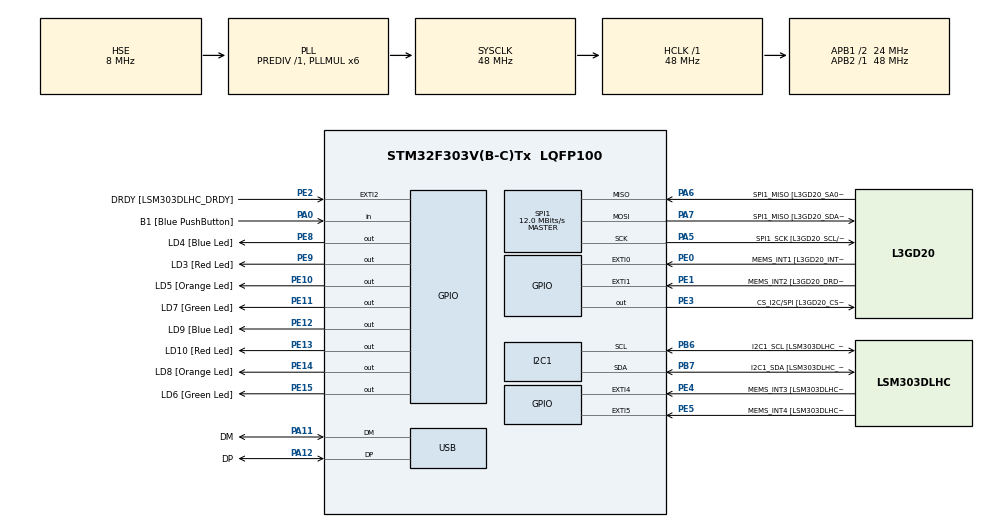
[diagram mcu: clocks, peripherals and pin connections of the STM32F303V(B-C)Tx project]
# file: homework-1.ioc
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I2C1.Timing=0x00201D2B
I2C1.Timing-I2C=0x2000090E
Mcu.Family=STM32F3
Mcu.Name=STM32F303V(B-C)Tx
Mcu.Package=LQFP100
NVIC.PriorityGroup=NVIC_PRIORITYGROUP_0
PA0.GPIO_Label=B1 [Blue PushButton]
PA0.Signal=GPIO_Input
PA11.GPIO_Label=DM
PA11.Mode=Device
PA11.Signal=USB_DM
PA12.GPIO_Label=DP
PA12.Mode=Device
PA12.Signal=USB_DP
PA13.GPIO_Label=SWDIO
PA13.Mode=Serial_Wire
PA13.Signal=SYS_JTMS-SWDIO
PA14.GPIO_Label=SWCLK
PA14.Mode=Serial_Wire
PA14.Signal=SYS_JTCK-SWCLK
PA5.GPIO_Label=SPI1_SCK [L3GD20_SCL/SPC]
PA5.Mode=Full_Duplex_Master
PA5.Signal=SPI1_SCK
PA6.GPIO_Label=SPI1_MISO [L3GD20_SA0/SDO]
PA6.Mode=Full_Duplex_Master
PA6.Signal=SPI1_MISO
PA7.GPIO_Label=SPI1_MISO [L3GD20_SDA/SDI/SDO]
PA7.Mode=Full_Duplex_Master
PA7.Signal=SPI1_MOSI
PB3.GPIO_Label=SWO
PB3.Signal=SYS_JTDO-TRACESWO
PB6.GPIO_Label=I2C1_SCL [LSM303DLHC_SCL]
PB6.GPIO_Pu=GPIO_PULLUP
PB6.Mode=I2C
PB6.Signal=I2C1_SCL
PB7.GPIO_Label=I2C1_SDA [LSM303DLHC_SDA]
PB7.GPIO_Pu=GPIO_PULLUP
PB7.Mode=I2C
PB7.Signal=I2C1_SDA
PC14-OSC32_IN.GPIO_Label=OSC32_IN
PC14-OSC32_IN.Signal=RCC_OSC32_IN
PC15-OSC32_OUT.GPIO_Label=OSC32_OUT
PC15-OSC32_OUT.Signal=RCC_OSC32_OUT
PE0.GPIO_Label=MEMS_INT1 [L3GD20_INT1]
PE0.GPIO_ModeDefaultEXTI=GPIO_MODE_EVT_RISING
PE0.Signal=GPXTI0
PE1.GPIO_Label=MEMS_INT2 [L3GD20_DRDY/INT2]
PE1.GPIO_ModeDefaultEXTI=GPIO_MODE_EVT_RISING
PE1.Signal=GPXTI1
PE10.GPIO_Label=LD5 [Orange Led]
PE10.Signal=GPIO_Output
PE11.GPIO_Label=LD7 [Green Led]
PE11.Signal=GPIO_Output
PE12.GPIO_Label=LD9 [Blue Led]
PE12.Signal=GPIO_Output
PE13.GPIO_Label=LD10 [Red Led]
PE13.Signal=GPIO_Output
PE14.GPIO_Label=LD8 [Orange Led]
PE14.Signal=GPIO_Output
PE15.GPIO_Label=LD6 [Green Led]
PE15.Signal=GPIO_Output
PE2.GPIO_Label=DRDY [LSM303DLHC_DRDY]
PE2.GPIO_ModeDefaultEXTI=GPIO_MODE_EVT_RISING
PE2.Signal=GPXTI2
PE3.GPIO_Label=CS_I2C/SPI [L3GD20_CS_I2C/SPI]
PE3.Signal=GPIO_Output
PE4.GPIO_Label=MEMS_INT3 [LSM303DLHC_INT1]
PE4.GPIO_ModeDefaultEXTI=GPIO_MODE_EVT_RISING
PE4.Signal=GPXTI4
PE5.GPIO_Label=MEMS_INT4 [LSM303DLHC_INT2]
PE5.GPIO_ModeDefaultEXTI=GPIO_MODE_EVT_RISING
PE5.Signal=GPXTI5
PE8.GPIO_Label=LD4 [Blue Led]
PE8.Signal=GPIO_Output
PE9.GPIO_Label=LD3 [Red Led]
PE9.Signal=GPIO_Output
PF0-OSC_IN.GPIO_Label=OSC_IN
PF0-OSC_IN.Mode=HSE-External-Clock-Source
PF0-OSC_IN.Signal=RCC_OSC_IN
PF1-OSC_OUT.GPIO_Label=OSC_OUT
PF1-OSC_OUT.Signal=RCC_OSC_OUT
ProjectManager.HeapSize=0x200
ProjectManager.StackSize=0x400
ProjectManager.TargetToolchain=CMake
RCC.AHBFreq_Value=48000000
RCC.APB1CLKDivider=RCC_HCLK_DIV2
RCC.APB1Freq_Value=24000000
RCC.APB1TimFreq_Value=48000000
RCC.APB2Freq_Value=48000000
RCC.APB2TimFreq_Value=48000000
RCC.CortexFreq_Value=48000000
RCC.HCLKFreq_Value=48000000
RCC.HSE_VALUE=8000000
RCC.HSI_VALUE=8000000
RCC.LSE_VALUE=32768
RCC.PLLMUL=RCC_PLL_MUL6
RCC.SYSCLKFreq_VALUE=48000000
RCC.SYSCLKSourceVirtual=RCC_SYSCLKSOURCE_PLLCLK
RCC.USBFreq_Value=48000000
SPI1.BaudRatePrescaler=SPI_BAUDRATEPRESCALER_4
SPI1.BaudRatePrescaler-Full_Duplex_Master=SPI_BAUDRATEPRESCALER_2
SPI1.CalculateBaudRate=12.0 MBits/s
SPI1.CalculateBaudRate-Full_Duplex_Master=24.0 MBits/s
SPI1.Direction=SPI_DIRECTION_2LINES
SPI1.Mode=SPI_MODE_MASTER
SPI1.Mode-Full_Duplex_Master=SPI_MODE_MASTER
SPI1.VirtualType=VM_MASTER
VP_RTC_VS_RTC_Activate.Mode=RTC_Enabled
board=STM32F3DISCOVERY

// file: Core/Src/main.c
/* USER CODE BEGIN Header */
/**
  ******************************************************************************
  * @file           : main.c
  * @brief          : Main program body - Homework 1 Part 1B (Interrupt-Driven)
  ******************************************************************************
  */
/* USER CODE END Header */

#include "main.h"

/* USER CODE BEGIN PD */
//PART 1B/A
// #define LED_PIN  8U   // PE8 (LD4 Blue LED on STM32F3 Discovery)
// #define BTN_PIN  0U   // PA0 (USER Push Button)
//END
//PART 2
#define LED_PIN  8U   // PE8 (LD4 Blue LED) - Part 1A/1B
#define BTN_PIN  0U   // PA0 (USER Push Button)

// Part 2
#define LED_R_PIN 9U    // PE9  LD3 red
#define LED_G_PIN 11U   // PE11 LD7 green
#define LED_B_PIN 12U   // PE12 LD9 blue
#define W_DELAY_MS    150U   // white on/off
#define RGB_DELAY_MS  400U   // per color
/* USER CODE END PD */

I2C_HandleTypeDef hi2c1;
RTC_HandleTypeDef hrtc;
SPI_HandleTypeDef hspi1;
PCD_HandleTypeDef hpcd_USB_FS;

/* USER CODE BEGIN PV */
//PART 2
volatile uint8_t g_flash_LED = 0;   // 1 = SW1 held (flash white), 0 = RGB cycle
/* USER CODE END PV */

void SystemClock_Config(void);
static void MX_I2C1_Init(void);
static void MX_RTC_Init(void);
static void MX_SPI1_Init(void);
static void MX_USB_PCD_Init(void);

/* USER CODE BEGIN 0 */
//PART 2
static void Control_RGB_LEDs(int r, int g, int b)
{
    GPIOE->BSRR = r ? (1U << LED_R_PIN) : (1U << (LED_R_PIN + 16U));
    GPIOE->BSRR = g ? (1U << LED_G_PIN) : (1U << (LED_G_PIN + 16U));
    GPIOE->BSRR = b ? (1U << LED_B_PIN) : (1U << (LED_B_PIN + 16U));
}

// Timer: replaces Delay(), TIM2 in one-pulse (one-shot) mode
static void TIM_Init(void)
{
    RCC->APB1ENR |= RCC_APB1ENR_TIM2EN;
    TIM2->PSC = 48000U - 1U;   // 48 MHz / 48000 = 1 kHz -> 1 ms/count
    TIM2->CR1 = TIM_CR1_OPM;   // one-pulse: stops itself at expiry
    TIM2->EGR = TIM_EGR_UG;    // load PSC now
    TIM2->SR  = 0;             // clear flag UG just set
}
static void Start_TIM(uint32_t ms)
{
    TIM2->CR1 &= ~TIM_CR1_CEN;
    TIM2->ARR = ms - 1U;
    TIM2->CNT = 0;
    TIM2->SR  = 0;
    TIM2->CR1 |= TIM_CR1_CEN;
}
static uint32_t TIM_Expired(void) { return (TIM2->SR & TIM_SR_UIF) ? 1U : 0U; }
static void Stop_TIM(void)        { TIM2->CR1 &= ~TIM_CR1_CEN; TIM2->SR = 0; }

// Task 1: white flash FSM (runs only while SW1 is held)
static void Task_Flash_FSM_Timer(void)
{
    enum State { ST_WHITE, ST_WHITE_WAIT, ST_BLACK, ST_BLACK_WAIT };
    static enum State next_state = ST_WHITE;

    if (g_flash_LED == 1) {
        switch (next_state) {
        case ST_WHITE:
            Control_RGB_LEDs(1, 1, 1);
            Start_TIM(W_DELAY_MS);
            next_state = ST_WHITE_WAIT;
            break;
        case ST_WHITE_WAIT:
            if (TIM_Expired()) { Stop_TIM(); next_state = ST_BLACK; }
            break;
        case ST_BLACK:
            Control_RGB_LEDs(0, 0, 0);
            Start_TIM(W_DELAY_MS);
            next_state = ST_BLACK_WAIT;
            break;
        case ST_BLACK_WAIT:
            if (TIM_Expired()) { Stop_TIM(); next_state = ST_WHITE; }
            break;
        default:
            next_state = ST_WHITE;
            break;
        }
    } else {
        next_state = ST_WHITE;   // reset cleanly for next time SW1 is held
    }
}

// Task 2: RGB cycle FSM (runs only while SW1 is NOT held)
static void Task_RGB_FSM_Timer(void)
{
    enum State { ST_RED, ST_RED_WAIT, ST_GREEN, ST_GREEN_WAIT,
                 ST_BLUE, ST_BLUE_WAIT };
    static enum State next_state = ST_RED;

    if (g_flash_LED == 0) {
        switch (next_state) {
        case ST_RED:
            Control_RGB_LEDs(1, 0, 0);
            Start_TIM(RGB_DELAY_MS);
            next_state = ST_RED_WAIT;
            break;
        case ST_RED_WAIT:
            if (TIM_Expired()) { Stop_TIM(); next_state = ST_GREEN; }
            break;
        case ST_GREEN:
            Control_RGB_LEDs(0, 1, 0);
            Start_TIM(RGB_DELAY_MS);
            next_state = ST_GREEN_WAIT;
            break;
        case ST_GREEN_WAIT:
            if (TIM_Expired()) { Stop_TIM(); next_state = ST_BLUE; }
            break;
        case ST_BLUE:
            Control_RGB_LEDs(0, 0, 1);
            Start_TIM(RGB_DELAY_MS);
            next_state = ST_BLUE_WAIT;
            break;
        case ST_BLUE_WAIT:
            if (TIM_Expired()) { Stop_TIM(); next_state = ST_RED; }
            break;
        default:
            next_state = ST_RED;
            break;
        }
    } else {
        next_state = ST_RED;
    }
}
/* USER CODE END 0 */

int main(void)
{
  /* Reset of all peripherals, Initializes the Flash interface and the Systick. */
  HAL_Init();

  /* Configure the system clock */
  SystemClock_Config();

  /* Initialize CubeMX generated peripherals (RTC, SPI, I2C, USB) */
  MX_I2C1_Init();
  MX_RTC_Init();
  MX_SPI1_Init();
  MX_USB_PCD_Init();

  /* USER CODE BEGIN 2 */
  /* =========================================================================
   * PART 1A: CMSIS Direct Register Configuration (Polling) - [COMMENTED OUT]
   * =========================================================================
  // 1. Enable AHB peripheral clock for GPIOA (Button) and GPIOE (LEDs)
  RCC->AHBENR |= RCC_AHBENR_GPIOAEN | RCC_AHBENR_GPIOEEN;

  // 2. Configure PE8 as General Purpose Output (Bits 17:16 = 01)
  GPIOE->MODER &= ~(3U << (LED_PIN * 2)); // Clear mode bits
  GPIOE->MODER |=  (1U << (LED_PIN * 2)); // Set as Output (01)
  GPIOE->OTYPER &= ~(1U << LED_PIN);       // Push-pull output
  GPIOE->OSPEEDR &= ~(3U << (LED_PIN * 2));// Low speed

  // 3. Configure PA0 as Digital Input (Bits 1:0 = 00)
  GPIOA->MODER &= ~(3U << (BTN_PIN * 2));  // Set mode to Input (00)

  // 4. Set Pull-down resistor on PA0
  GPIOA->PUPDR &= ~(3U << (BTN_PIN * 2));  // Clear pull configuration
  GPIOA->PUPDR |=  (2U << (BTN_PIN * 2));  // Set pull-down (10)
  ========================================================================= */

  // =========================================================================
  // PART 1B: CMSIS Direct Register Configuration (Interrupt-Driven)
  // =========================================================================

  // 1. Enable AHB clocks for GPIOA, GPIOE and APB2 clock for SYSCFG
  // RCC->AHBENR  |= RCC_AHBENR_GPIOAEN | RCC_AHBENR_GPIOEEN;
  // RCC->APB2ENR |= RCC_APB2ENR_SYSCFGEN;

  // // 2. Configure PE8 as General Purpose Output
  // GPIOE->MODER &= ~(3U << (LED_PIN * 2)); // Clear mode bits
  // GPIOE->MODER |=  (1U << (LED_PIN * 2)); // Set mode to Output (01)
  // GPIOE->OTYPER &= ~(1U << LED_PIN);       // Push-pull output
  // GPIOE->OSPEEDR &= ~(3U << (LED_PIN * 2));// Low speed

  // // 3. Configure PA0 as Digital Input with Pull-Down
  // GPIOA->MODER &= ~(3U << (BTN_PIN * 2));  // Input mode (00)
  // GPIOA->PUPDR &= ~(3U << (BTN_PIN * 2));  // Clear pull configuration
  // GPIOA->PUPDR |=  (2U << (BTN_PIN * 2));  // Set pull-down (10)

  // // 4. Connect EXTI Line 0 to Port A (PA0) via SYSCFG_EXTICR1
  // SYSCFG->EXTICR[0] &= ~(0xFU << 0);       // EXTI0 mapped to PA0

  // // 5. Configure EXTI Line 0 for Rising Edge Triggering (Button press)
  // EXTI->IMR  |= EXTI_IMR_MR0;              // Unmask EXTI Line 0
  // EXTI->RTSR |= EXTI_RTSR_TR0;             // Enable rising edge trigger
  // EXTI->FTSR &= ~EXTI_FTSR_TR0;            // Disable falling edge trigger

  // // 6. Enable EXTI Line 0 Interrupt in NVIC
  // NVIC_SetPriority(EXTI0_IRQn, 2);
  // NVIC_EnableIRQ(EXTI0_IRQn);
  // =========================================================================
  // PART 2: Timer + FSM (both edges of SW1)
  // =========================================================================

  // 1. Clocks: GPIOA (button), GPIOE (LEDs, already includes PE8), SYSCFG, TIM2
  RCC->AHBENR  |= RCC_AHBENR_GPIOAEN | RCC_AHBENR_GPIOEEN;
  RCC->APB2ENR |= RCC_APB2ENR_SYSCFGEN;

  // 2. Configure PE9, PE11, PE12 as outputs (red, green, blue)
  {
      uint32_t pins[3] = { LED_R_PIN, LED_G_PIN, LED_B_PIN };
      for (int i = 0; i < 3; i++) {
          GPIOE->MODER &= ~(3U << (pins[i] * 2));
          GPIOE->MODER |=  (1U << (pins[i] * 2));
      }
  }

  // 3. PA0 input, pull-down (same as Part 1B)
  GPIOA->MODER &= ~(3U << (BTN_PIN * 2));
  GPIOA->PUPDR &= ~(3U << (BTN_PIN * 2));
  GPIOA->PUPDR |=  (2U << (BTN_PIN * 2));

  // 4. EXTI0 <- PA0, BOTH edges this time (press AND release matter)
  SYSCFG->EXTICR[0] &= ~(0xFU << 0);
  EXTI->IMR  |= EXTI_IMR_MR0;
  EXTI->RTSR |= EXTI_RTSR_TR0;   // press
  EXTI->FTSR |= EXTI_FTSR_TR0;   // release
  NVIC_SetPriority(EXTI0_IRQn, 2);
  NVIC_EnableIRQ(EXTI0_IRQn);

  // 5. Timer init, and set initial flag from the button's current state
  TIM_Init();
  g_flash_LED = (uint8_t)((GPIOA->IDR >> BTN_PIN) & 1U);

  /* USER CODE END 2 */

  /* Infinite loop */
  /* USER CODE BEGIN WHILE */
  while (1)
  {
    /* =========================================================================
     * PART 1A: Continuous Polling Loop - [COMMENTED OUT]
     * =========================================================================
    if ((GPIOA->IDR >> BTN_PIN) & 1U)
    {
      // Button Pressed (HIGH): Turn ON PE8 LED using Bit Set Register
      GPIOE->BSRR = (1U << LED_PIN);
    }
    else
    {
      // Button Released (LOW): Turn OFF PE8 LED using Bit Reset Register
      GPIOE->BSRR = (1U << (LED_PIN + 16U));
    }
    ========================================================================= */

    // =========================================================================
    // PART 1B: Main application loop remains idle/non-blocking
    // =========================================================================
    __NOP();

    /* USER CODE END WHILE */

    /* USER CODE BEGIN 3 */
    Task_Flash_FSM_Timer();
    Task_RGB_FSM_Timer();
  }
  /* USER CODE END 3 */
}

void SystemClock_Config(void)
{
  RCC_OscInitTypeDef RCC_OscInitStruct = {0};
  RCC_ClkInitTypeDef RCC_ClkInitStruct = {0};
  RCC_PeriphCLKInitTypeDef PeriphClkInit = {0};

  RCC_OscInitStruct.OscillatorType = RCC_OSCILLATORTYPE_HSI|RCC_OSCILLATORTYPE_LSI
                              |RCC_OSCILLATORTYPE_HSE;
  RCC_OscInitStruct.HSEState = RCC_HSE_BYPASS;
  RCC_OscInitStruct.HSEPredivValue = RCC_HSE_PREDIV_DIV1;
  RCC_OscInitStruct.HSIState = RCC_HSI_ON;
  RCC_OscInitStruct.HSICalibrationValue = RCC_HSICALIBRATION_DEFAULT;
  RCC_OscInitStruct.LSIState = RCC_LSI_ON;
  RCC_OscInitStruct.PLL.PLLState = RCC_PLL_ON;
  RCC_OscInitStruct.PLL.PLLSource = RCC_PLLSOURCE_HSE;
  RCC_OscInitStruct.PLL.PLLMUL = RCC_PLL_MUL6;
  if (HAL_RCC_OscConfig(&RCC_OscInitStruct) != HAL_OK)
  {
    Error_Handler();
  }

  RCC_ClkInitStruct.ClockType = RCC_CLOCKTYPE_HCLK|RCC_CLOCKTYPE_SYSCLK
                              |RCC_CLOCKTYPE_PCLK1|RCC_CLOCKTYPE_PCLK2;
  RCC_ClkInitStruct.SYSCLKSource = RCC_SYSCLKSOURCE_PLLCLK;
  RCC_ClkInitStruct.AHBCLKDivider = RCC_SYSCLK_DIV1;
  RCC_ClkInitStruct.APB1CLKDivider = RCC_HCLK_DIV2;
  RCC_ClkInitStruct.APB2CLKDivider = RCC_HCLK_DIV1;

  if (HAL_RCC_ClockConfig(&RCC_ClkInitStruct, FLASH_LATENCY_1) != HAL_OK)
  {
    Error_Handler();
  }
  PeriphClkInit.PeriphClockSelection = RCC_PERIPHCLK_USB|RCC_PERIPHCLK_I2C1
                              |RCC_PERIPHCLK_RTC;
  PeriphClkInit.I2c1ClockSelection = RCC_I2C1CLKSOURCE_HSI;
  PeriphClkInit.RTCClockSelection = RCC_RTCCLKSOURCE_LSI;
  PeriphClkInit.USBClockSelection = RCC_USBCLKSOURCE_PLL;
  if (HAL_RCCEx_PeriphCLKConfig(&PeriphClkInit) != HAL_OK)
  {
    Error_Handler();
  }
}

static void MX_I2C1_Init(void)
{
  hi2c1.Instance = I2C1;
  hi2c1.Init.Timing = 0x00201D2B;
  hi2c1.Init.AddressingMode = I2C_ADDRESSINGMODE_7BIT;
  hi2c1.Init.DualAddressMode = I2C_DUALADDRESS_DISABLE;
  hi2c1.Init.OwnAddress2Masks = I2C_OA2_NOMASK;
  hi2c1.Init.GeneralCallMode = I2C_GENERALCALL_DISABLE;
  hi2c1.Init.NoStretchMode = I2C_NOSTRETCH_DISABLE;
  if (HAL_I2C_Init(&hi2c1) != HAL_OK)
  {
    Error_Handler();
  }
  if (HAL_I2CEx_ConfigAnalogFilter(&hi2c1, I2C_ANALOGFILTER_ENABLE) != HAL_OK)
  {
    Error_Handler();
  }
  if (HAL_I2CEx_ConfigDigitalFilter(&hi2c1, 0) != HAL_OK)
  {
    Error_Handler();
  }
}

static void MX_RTC_Init(void)
{
  hrtc.Instance = RTC;
  hrtc.Init.HourFormat = RTC_HOURFORMAT_24;
  hrtc.Init.AsynchPrediv = 127;
  hrtc.Init.SynchPrediv = 255;
  hrtc.Init.OutPut = RTC_OUTPUT_DISABLE;
  hrtc.Init.OutPutPolarity = RTC_OUTPUT_POLARITY_HIGH;
  hrtc.Init.OutPutType = RTC_OUTPUT_TYPE_OPENDRAIN;
  if (HAL_RTC_Init(&hrtc) != HAL_OK)
  {
    Error_Handler();
  }
}

static void MX_SPI1_Init(void)
{
  hspi1.Instance = SPI1;
  hspi1.Init.Mode = SPI_MODE_MASTER;
  hspi1.Init.Direction = SPI_DIRECTION_2LINES;
  hspi1.Init.DataSize = SPI_DATASIZE_4BIT;
  hspi1.Init.CLKPolarity = SPI_POLARITY_LOW;
  hspi1.Init.CLKPhase = SPI_PHASE_1EDGE;
  hspi1.Init.NSS = SPI_NSS_SOFT;
  hspi1.Init.BaudRatePrescaler = SPI_BAUDRATEPRESCALER_4;
  hspi1.Init.FirstBit = SPI_FIRSTBIT_MSB;
  hspi1.Init.TIMode = SPI_TIMODE_DISABLE;
  hspi1.Init.CRCCalculation = SPI_CRCCALCULATION_DISABLE;
  hspi1.Init.CRCPolynomial = 7;
  hspi1.Init.CRCLength = SPI_CRC_LENGTH_DATASIZE;
  hspi1.Init.NSSPMode = SPI_NSS_PULSE_ENABLE;
  if (HAL_SPI_Init(&hspi1) != HAL_OK)
  {
    Error_Handler();
  }
}

static void MX_USB_PCD_Init(void)
{
  hpcd_USB_FS.Instance = USB;
  hpcd_USB_FS.Init.dev_endpoints = 8;
  hpcd_USB_FS.Init.speed = PCD_SPEED_FULL;
  hpcd_USB_FS.Init.phy_itface = PCD_PHY_EMBEDDED;
  hpcd_USB_FS.Init.low_power_enable = DISABLE;
  hpcd_USB_FS.Init.battery_charging_enable = DISABLE;
  if (HAL_PCD_Init(&hpcd_USB_FS) != HAL_OK)
  {
    Error_Handler();
  }
}

/* USER CODE BEGIN 4 */
// // PART 1B
// /**
//   * @brief  EXTI Line 0 Interrupt Handler for PA0 Button Press (Part 1B)
//   */
// void EXTI0_IRQHandler(void)
// {
//   // Check if EXTI Line 0 pending flag is set
//   if (EXTI->PR & EXTI_PR_PR0)
//   {
//     // Clear pending bit by writing '1' to bit 0
//     EXTI->PR = EXTI_PR_PR0;

//     // Toggle PE8 LED using Output Data Register (ODR)
//     GPIOE->ODR ^= (1U << LED_PIN);
//   }
// } END
// PART 2
void EXTI0_IRQHandler(void)
{
  if (EXTI->PR & EXTI_PR_PR0)
  {
    EXTI->PR = EXTI_PR_PR0;                              // acknowledge
    g_flash_LED = (uint8_t)((GPIOA->IDR >> BTN_PIN) & 1U); // read current level
  }
}
/* USER CODE END 4 */

void Error_Handler(void)
{
  __disable_irq();
  while (1)
  {
  }
}
